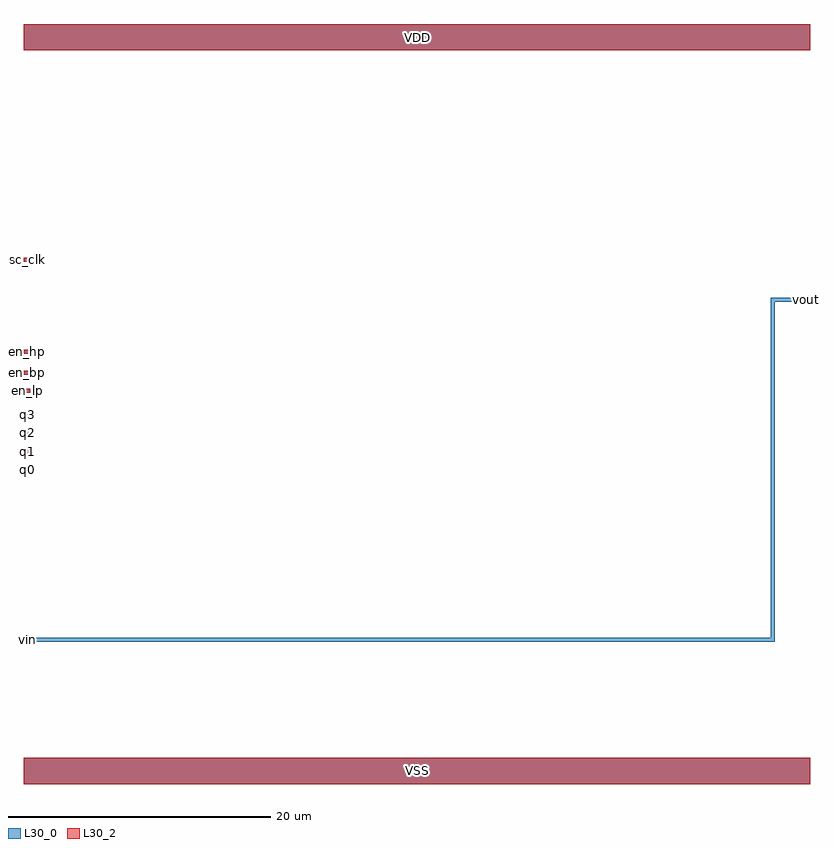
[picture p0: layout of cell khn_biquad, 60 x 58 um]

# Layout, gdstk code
import gdstk
lib = gdstk.Library(unit=1e-6, precision=1e-09)
def R(c, l, rs):  # rectangles x0, y0, x1, y1
    for r in rs: c.add(gdstk.rectangle(r[:2], r[2:], *l))
def A(c, l, x, y, w, h, nx, ny, dx, dy):  # array of equal rectangles
    R(c, l, [(x+i*dx, y+j*dy, x+i*dx+w, y+j*dy+h) for i in range(nx) for j in range(ny)])
L30_0 = (30, 0)
L30_2 = (30, 2)

khn_biquad = lib.new_cell('khn_biquad')
A(khn_biquad, L30_0, 0, 23.85, 0.5, 0.3, 1, 4, 0, 1.4)
R(khn_biquad, L30_0, [(0,0,60,2), (0,0,60,2), (0,10.85,0.5,11.15), (0,29.85,0.5,30.15), (0,31.25,0.5,31.55), (0,32.85,0.5,33.15), (59.5,36.8,60,37.1), (0,39.85,0.5,40.15), (0,56,60,58), (0,56,60,58)])
A(khn_biquad, L30_2, 0, 23.85, 0.5, 0.3, 1, 4, 0, 1.4)
R(khn_biquad, L30_2, [(0,0,60,2), (0,10.85,0.5,11.15), (0,29.85,0.5,30.15), (0,31.25,0.5,31.55), (0,32.85,0.5,33.15), (59.5,36.8,60,37.1), (0,39.85,0.5,40.15), (0,56,60,58)])
khn_biquad.add(gdstk.FlexPath([(0.25,11),(57.145,11),(57.145,36.95),(59.74,36.95),(59.74,36.95),(59.74,36.95)], 0.3, ends="flush", simple_path=True, layer=30, datatype=0))  # L30_0
khn_biquad.add(gdstk.Label('VSS', (30,1), layer=30, texttype=25))
khn_biquad.add(gdstk.Label('vin', (0.25,11), layer=30, texttype=25))
khn_biquad.add(gdstk.Label('vout', (59.75,36.95), layer=30, texttype=25))
khn_biquad.add(gdstk.Label('q0', (0.25,24), layer=30, texttype=25))
khn_biquad.add(gdstk.Label('q1', (0.25,25.4), layer=30, texttype=25))
khn_biquad.add(gdstk.Label('q2', (0.25,26.8), layer=30, texttype=25))
khn_biquad.add(gdstk.Label('q3', (0.25,28.2), layer=30, texttype=25))
khn_biquad.add(gdstk.Label('en_lp', (0.25,30), layer=30, texttype=25))
khn_biquad.add(gdstk.Label('en_bp', (0.25,31.4), layer=30, texttype=25))
khn_biquad.add(gdstk.Label('en_hp', (0.25,33), layer=30, texttype=25))
khn_biquad.add(gdstk.Label('sc_clk', (0.25,40), layer=30, texttype=25))
khn_biquad.add(gdstk.Label('VDD', (30,57), layer=30, texttype=25))

lib.write_gds('khn_biquad.gds')
